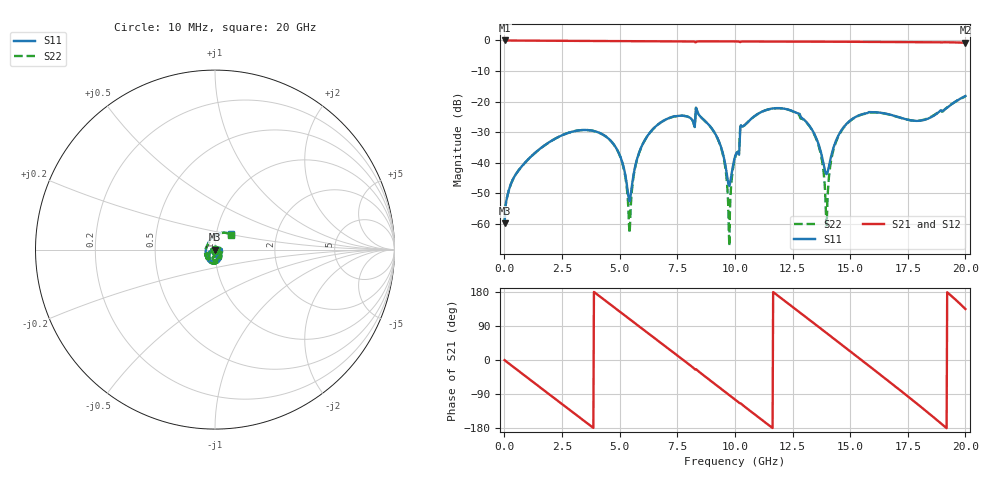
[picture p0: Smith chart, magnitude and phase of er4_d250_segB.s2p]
! Stitch-rule transferability - stripline, 2 mm stitch pitch, cut at x=20 mm
! Case: er4_d250_segB
! Sweep: 10 MHz - 20 GHz, 25 MHz step, 4 cores
# GHz S MA R 50.000000
! Terminal data exported
! Port[1] = U1.PAD1.SIG
! Port[2] = U2.PAD1.SIG
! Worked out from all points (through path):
!   801 points, 10 MHz to 20 GHz, reference 50 ohm
!   highest |S21| = -0.01 dB at 10 MHz (marker M1); lowest = -0.8 dB at 20 GHz (marker M2)
!   group delay of S21, straight-line fit = 130 ps
!   lowest |S11| = -59.7 dB at 10 MHz (marker M3), VSWR 1.00, Z = 50.1 + j0.0511 ohm
!   |S11| at or under -10 dB: start of sweep to end of sweep
!   |S22| runs from -67.2 to -18.3 dB; largest |S21 - S12| = 0
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0.01  0.00103 29.7  0.9991 -0.5  0.9991 -0.5  0.00103 29.7
0.46  0.006195 39.5  0.9951 -21.6  0.9951 -21.6  0.006172 40.0
1.76  0.01951 -1.3  0.989 -81.9  0.989 -81.9  0.01944 0.2
3.36  0.03429 -67.4  0.9829 -156.1  0.9829 -156.1  0.03427 -66.7
4.835  0.01781 -128.9  0.9786 135.6  0.9786 135.6  0.01771 -132.4
5.435  0.002348 -67.5  0.9769 107.8  0.9769 107.8  0.0007128 -54.9
5.835  0.01435 -10.4  0.9756 89.3  0.9756 89.3  0.01416 -2.9
6.685  0.04295 -42.7  0.9724 49.9  0.9724 49.9  0.04288 -40.6
8.41  0.06351 -115.4  0.9641 -29.3  0.9641 -29.3  0.06335 -117.2
9.36  0.01996 -152.6  0.9657 -73.9  0.9657 -73.9  0.01952 -163.6
9.76  0.004213 -87.0  0.9647 -92.6  0.9647 -92.6  0.0004346 2.8
10.01  0.01278 -32.0  0.9635 -104.3  0.9635 -104.3  0.01222 -11.9
10.335  0.03946 -31.5  0.9607 -118.8  0.9607 -118.8  0.03955 -27.0
11.685  0.0777 -92.0  0.9569 178.1  0.9569 178.1  0.07748 -92.4
13.36  0.03411 -159.9  0.955 100.1  0.955 100.1  0.03349 -171.3
13.985  0.006558 -103.4  0.9539 70.8  0.9539 70.8  0.000953 32.8
14.26  0.01683 -53.8  0.9531 57.9  0.9531 57.9  0.01548 -30.0
14.71  0.03785 -60.8  0.9514 36.7  0.9514 36.7  0.0372 -53.2
16.685  0.06196 -141.6  0.9449 -56.7  0.9449 -56.7  0.06147 -151.0
17.66  0.04927 174.4  0.9426 -103.6  0.9426 -103.6  0.04934 158.7
18.685  0.06083 117.5  0.9375 -154.3  0.9375 -154.3  0.06171 110.5
20  0.1236 45.2  0.9163 134.4  0.9163 134.4  0.1211 43.0
